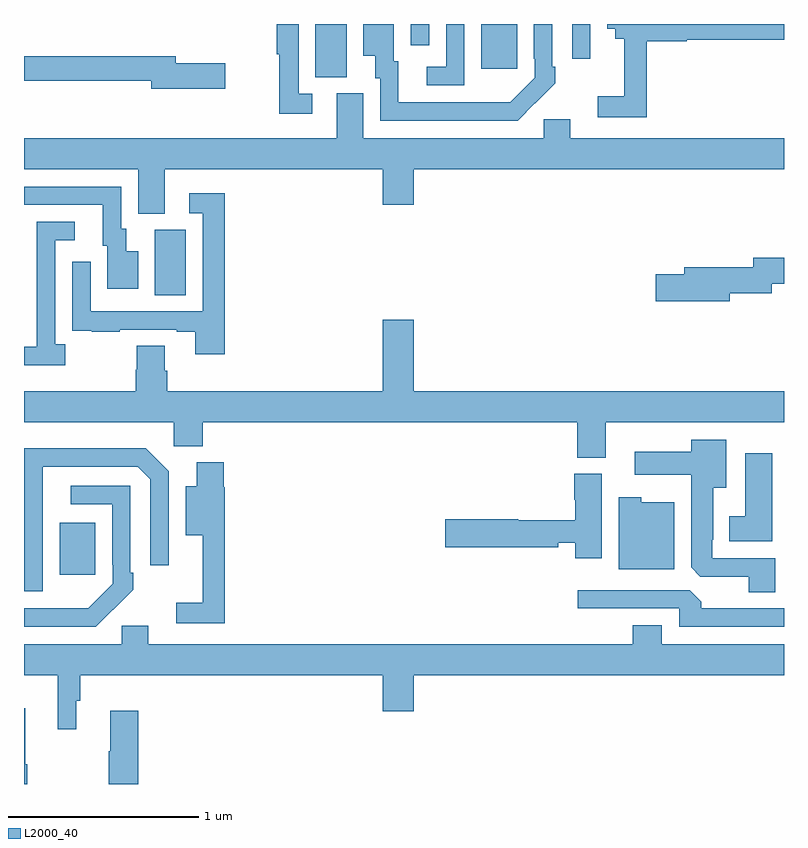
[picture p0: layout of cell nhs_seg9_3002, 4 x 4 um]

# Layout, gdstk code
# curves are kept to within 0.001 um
import gdstk
lib = gdstk.Library(unit=1e-6, precision=1e-09)
def R(c, l, rs):  # rectangles x0, y0, x1, y1
    for r in rs: c.add(gdstk.rectangle(r[:2], r[2:], *l))
def P(c, l, *ps):  # polygons
    for p in ps: c.add(gdstk.Polygon(p, *l))
L2000_40 = (2000, 40)

nhs_seg9_3002 = lib.new_cell('nhs_seg9_3002')
R(nhs_seg9_3002, L2000_40, [(283.187,1211.601,283.375,1211.875), (283.688,1213.072,283.852,1213.416), (284.534,1214.221,284.698,1214.5), (285.407,1214.265,285.595,1214.5), (285.885,1214.316,285.981,1214.5), (285.036,1214.388,285.132,1214.5)])
P(nhs_seg9_3002, L2000_40, [(285.689,1214.083),(285.69,1214.082),(285.795,1214.187),(285.795,1214.275),(285.78,1214.275),(285.78,1214.5),(285.684,1214.5),(285.684,1214.317),(285.687,1214.317),(285.687,1214.217),(285.559,1214.089),(285.455,1214.088),(284.971,1214.088),(284.971,1214.304),(284.947,1214.304),(284.947,1214.5),(284.786,1214.5),(284.786,1214.333),(284.849,1214.333),(284.849,1214.214),(284.874,1214.214),(284.874,1213.992),(285.598,1213.992)],
  [(286.277,1214.408),(286.488,1214.408),(286.488,1214.416),(287,1214.416),(287,1214.5),(286.07,1214.5),(286.07,1214.474),(286.112,1214.474),(286.112,1214.423),(286.16,1214.423),(286.16,1214.119),(286.02,1214.119),(286.02,1214.01),(286.277,1214.01)],
  [(285.318,1214.5),(285.222,1214.5),(285.222,1214.274),(285.12,1214.274),(285.12,1214.178),(285.318,1214.178)],
  [(284.518,1214.133),(284.445,1214.133),(284.445,1214.5),(284.329,1214.5),(284.329,1214.34),(284.344,1214.34),(284.344,1214.028),(284.518,1214.028)],
  [(284.059,1214.294),(283.798,1214.294),(283.798,1214.33),(283,1214.33),(283,1214.202),(283.67,1214.202),(283.67,1214.159),(284.059,1214.159)],
  [(283.741,1213.736),(284.888,1213.736),(284.888,1213.548),(285.052,1213.548),(285.052,1213.736),(287,1213.736),(287,1213.9),(285.874,1213.9),(285.874,1213.998),(285.735,1213.998),(285.735,1213.9),(284.785,1213.9),(284.785,1214.136),(284.645,1214.136),(284.645,1213.9),(283,1213.9),(283,1213.736),(283.601,1213.736),(283.601,1213.501),(283.741,1213.501)],
  [(283.6,1213.303),(283.537,1213.303),(283.537,1213.422),(283.512,1213.422),(283.512,1213.644),(283,1213.644),(283,1213.548),(283.415,1213.548),(283.415,1213.332),(283.439,1213.332),(283.439,1213.107),(283.6,1213.107)],
  [(284.057,1213.609),(283.869,1213.609),(283.869,1213.503),(283.941,1213.503),(283.941,1212.987),(283.35,1212.987),(283.35,1213.249),(283.254,1213.249),(283.254,1212.994),(283.255,1212.994),(283.255,1212.885),(283.357,1212.885),(283.357,1212.879),(283.505,1212.879),(283.505,1212.891),(283.805,1212.891),(283.805,1212.879),(283.901,1212.879),(283.901,1212.762),(284.057,1212.762)],
  [(283.216,1212.814),(283.164,1212.814),(283.164,1213.362),(283.267,1213.362),(283.267,1213.458),(283.068,1213.458),(283.068,1213.001),(283.067,1213.001),(283.067,1212.801),(283,1212.801),(283,1212.704),(283.216,1212.704)],
  [(286.714,1213.084),(286.936,1213.084),(286.936,1213.133),(287,1213.133),(287,1213.27),(286.838,1213.27),(286.838,1213.22),(286.475,1213.22),(286.475,1213.184),(286.326,1213.184),(286.326,1213.042),(286.714,1213.042)],
  [(286.063,1212.404),(287,1212.404),(287,1212.568),(285.052,1212.568),(285.052,1212.943),(284.888,1212.943),(284.888,1212.568),(283.754,1212.568),(283.754,1212.674),(283.741,1212.674),(283.741,1212.806),(283.594,1212.806),(283.594,1212.681),(283.589,1212.681),(283.589,1212.568),(283,1212.568),(283,1212.404),(283.788,1212.404),(283.788,1212.278),(283.94,1212.278),(283.94,1212.404),(285.911,1212.404),(285.911,1212.217),(286.063,1212.217)],
  [(286.954,1211.688),(286.623,1211.688),(286.623,1211.785),(286.627,1211.785),(286.627,1212.059),(286.696,1212.059),(286.696,1212.313),(286.511,1212.313),(286.511,1212.25),(286.215,1212.25),(286.215,1212.128),(286.511,1212.128),(286.511,1211.641),(286.56,1211.592),(286.814,1211.592),(286.814,1211.509),(286.954,1211.509)],
  [(283.098,1211.971),(283.099,1212.171),(283.599,1212.171),(283.665,1212.105),(283.665,1211.652),(283.761,1211.652),(283.761,1212.147),(283.64,1212.268),(283,1212.268),(283,1212.158),(283.002,1212.158),(283.002,1211.61),(283,1211.61),(283,1211.514),(283.098,1211.514)],
  [(286.939,1212.241),(286.796,1212.241),(286.796,1211.908),(286.712,1211.908),(286.712,1211.777),(286.939,1211.777)],
  [(284.057,1212.063),(284.051,1212.063),(284.051,1212.193),(283.91,1212.193),(283.91,1212.067),(283.85,1212.067),(283.85,1211.81),(283.94,1211.81),(283.94,1211.455),(283.8,1211.455),(283.8,1211.346),(284.057,1211.346)],
  [(286.042,1212.132),(285.896,1212.132),(285.896,1211.996),(285.901,1211.996),(285.901,1211.888),(285.6,1211.888),(285.6,1211.894),(285.216,1211.894),(285.216,1211.747),(285.812,1211.747),(285.812,1211.77),(285.901,1211.77),(285.901,1211.688),(286.042,1211.688)],
  [(283.469,1211.419),(283.47,1211.418),(283.575,1211.523),(283.575,1211.611),(283.56,1211.611),(283.56,1212.069),(283.245,1212.069),(283.245,1211.973),(283.464,1211.973),(283.464,1211.653),(283.467,1211.653),(283.467,1211.553),(283.339,1211.425),(283,1211.424),(283,1211.328),(283.378,1211.328)],
  [(286.423,1211.983),(286.248,1211.983),(286.248,1212.01),(286.13,1212.01),(286.13,1211.63),(286.423,1211.63)],
  [(287,1211.424),(286.565,1211.424),(286.565,1211.458),(286.503,1211.52),(285.915,1211.52),(285.915,1211.424),(286.449,1211.424),(286.449,1211.328),(287,1211.328)],
  [(284.888,1210.884),(285.052,1210.884),(285.052,1211.072),(287,1211.072),(287,1211.236),(286.357,1211.236),(286.357,1211.335),(286.205,1211.335),(286.205,1211.236),(283.654,1211.236),(283.654,1211.334),(283.515,1211.334),(283.515,1211.236),(283,1211.236),(283,1211.072),(283.177,1211.072),(283.177,1210.788),(283.276,1210.788),(283.276,1210.938),(283.295,1210.938),(283.295,1211.072),(284.888,1211.072)],
  [(283.018,1210.605),(283.006,1210.605),(283.006,1210.9),(283,1210.9),(283,1210.5),(283.018,1210.5)],
  [(283.601,1210.885),(283.454,1210.885),(283.454,1210.672),(283.447,1210.672),(283.447,1210.5),(283.601,1210.5)])

lib.write_gds('nhs_seg9_3002.gds')
